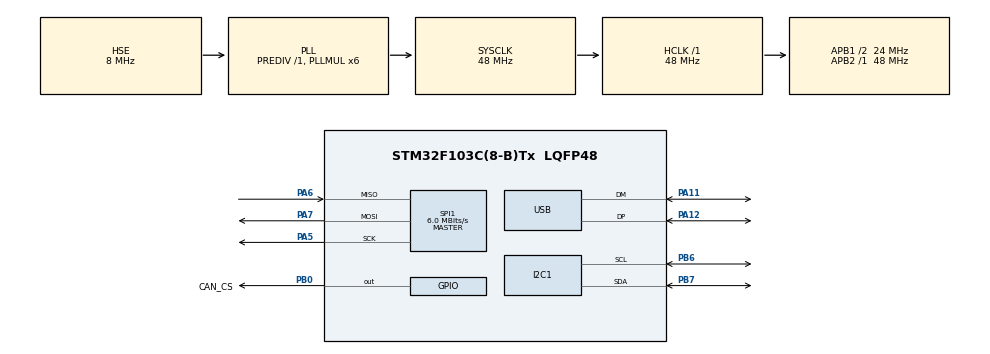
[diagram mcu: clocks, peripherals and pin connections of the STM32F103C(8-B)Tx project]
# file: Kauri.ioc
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Mcu.Family=STM32F1
Mcu.Name=STM32F103C(8-B)Tx
Mcu.Package=LQFP48
NVIC.PriorityGroup=NVIC_PRIORITYGROUP_4
NVIC.USB_HP_CAN1_TX_IRQn=true\:0\:0\:false\:false\:true\:true\:true\:true
NVIC.USB_LP_CAN1_RX0_IRQn=true\:0\:0\:false\:false\:true\:false\:true\:true
PA11.Mode=Device
PA11.Signal=USB_DM
PA12.Mode=Device
PA12.Signal=USB_DP
PA13.Mode=Serial_Wire
PA13.Signal=SYS_JTMS-SWDIO
PA14.Mode=Serial_Wire
PA14.Signal=SYS_JTCK-SWCLK
PA5.Mode=Full_Duplex_Master
PA5.Signal=SPI1_SCK
PA6.Mode=Full_Duplex_Master
PA6.Signal=SPI1_MISO
PA7.Mode=Full_Duplex_Master
PA7.Signal=SPI1_MOSI
PB0.GPIO_Label=CAN_CS
PB0.Signal=GPIO_Output
PB6.Mode=I2C
PB6.Signal=I2C1_SCL
PB7.Mode=I2C
PB7.Signal=I2C1_SDA
PD0-OSC_IN.Mode=HSE-External-Oscillator
PD0-OSC_IN.Signal=RCC_OSC_IN
PD1-OSC_OUT.Mode=HSE-External-Oscillator
PD1-OSC_OUT.Signal=RCC_OSC_OUT
ProjectManager.HeapSize=0x200
ProjectManager.StackSize=0x400
ProjectManager.TargetToolchain=STM32CubeIDE
RCC.AHBFreq_Value=48000000
RCC.APB1CLKDivider=RCC_HCLK_DIV2
RCC.APB1Freq_Value=24000000
RCC.APB1TimFreq_Value=48000000
RCC.APB2Freq_Value=48000000
RCC.APB2TimFreq_Value=48000000
RCC.HCLKFreq_Value=48000000
RCC.PLLMUL=RCC_PLL_MUL6
RCC.SYSCLKFreq_VALUE=48000000
RCC.SYSCLKSource=RCC_SYSCLKSOURCE_PLLCLK
RCC.USBFreq_Value=48000000
SPI1.BaudRatePrescaler=SPI_BAUDRATEPRESCALER_8
SPI1.CalculateBaudRate=6.0 MBits/s
SPI1.Direction=SPI_DIRECTION_2LINES
SPI1.Mode=SPI_MODE_MASTER
SPI1.VirtualType=VM_MASTER
USB_DEVICE.CLASS_NAME_FS=CDC
USB_DEVICE.VirtualMode=Cdc
USB_DEVICE.VirtualModeFS=Cdc_FS
VP_USB_DEVICE_VS_USB_DEVICE_CDC_FS.Mode=CDC_FS
board=custom

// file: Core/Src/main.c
/* USER CODE BEGIN Header */
/**
  ******************************************************************************
  * @file           : main.c
  * @brief          : Main program body
  ******************************************************************************
  * @attention
  *
  * Copyright (c) 2023 STMicroelectronics.
  * All rights reserved.
  *
  * This software is licensed under terms that can be found in the LICENSE file
  * in the root directory of this software component.
  * If no LICENSE file comes with this software, it is provided AS-IS.
  *
  ******************************************************************************
  */
/* USER CODE END Header */
#include "main.h"
#include "i2c.h"
#include "spi.h"
#include "usb_device.h"
#include "gpio.h"

/* USER CODE BEGIN Includes */
#include "string.h"
#include "usbd_cdc_if.h"
#include "accel.h"
#include "CANSPI.h"
/* USER CODE END Includes */

void SystemClock_Config(void);

/* USER CODE BEGIN 0 */

uCAN_MSG rxMessage;

/* USER CODE END 0 */

int main(void)
{

  /* MCU Configuration--------------------------------------------------------*/

  /* Reset of all peripherals, Initializes the Flash interface and the Systick. */
  HAL_Init();

  /* Configure the system clock */
  SystemClock_Config();

  /* Initialize all configured peripherals */
  MX_GPIO_Init();
  MX_I2C1_Init();
  MX_USB_DEVICE_Init();
  MX_SPI1_Init();
  /* USER CODE BEGIN 2 */

   //text buffer
  char text[100] = {0};
  CANSPI_Initialize();
  /* USER CODE END 2 */

  /* Infinite loop */
  /* USER CODE BEGIN WHILE */
  while (1)
  {

	  if(CANSPI_Receive(&rxMessage))
	  {
		uint8_t data[6]        = {0};
		float   data_float[3]  = {0};
		data[0] = rxMessage.frame.data0;
		data[1] = rxMessage.frame.data1;
		data[2] = rxMessage.frame.data2;
		data[3] = rxMessage.frame.data3;
		data[4] = rxMessage.frame.data4;
		data[5] = rxMessage.frame.data5;

		accel_bytes2float(data, data_float);

		sprintf(text,
				  "x: %4.2f  y: %4.2f  z: %4.2f \r\n",
				  data_float[0], data_float[1], data_float[2]);
		  CDC_Transmit_FS(text, sizeof(text));
	  }

    /* USER CODE END WHILE */

  }
}

void SystemClock_Config(void)
{
  RCC_OscInitTypeDef RCC_OscInitStruct = {0};
  RCC_ClkInitTypeDef RCC_ClkInitStruct = {0};
  RCC_PeriphCLKInitTypeDef PeriphClkInit = {0};

  /** Initializes the RCC Oscillators according to the specified parameters
  * in the RCC_OscInitTypeDef structure.
  */
  RCC_OscInitStruct.OscillatorType = RCC_OSCILLATORTYPE_HSE;
  RCC_OscInitStruct.HSEState = RCC_HSE_ON;
  RCC_OscInitStruct.HSEPredivValue = RCC_HSE_PREDIV_DIV1;
  RCC_OscInitStruct.HSIState = RCC_HSI_ON;
  RCC_OscInitStruct.PLL.PLLState = RCC_PLL_ON;
  RCC_OscInitStruct.PLL.PLLSource = RCC_PLLSOURCE_HSE;
  RCC_OscInitStruct.PLL.PLLMUL = RCC_PLL_MUL6;
  if (HAL_RCC_OscConfig(&RCC_OscInitStruct) != HAL_OK)
  {
    Error_Handler();
  }

  /** Initializes the CPU, AHB and APB buses clocks
  */
  RCC_ClkInitStruct.ClockType = RCC_CLOCKTYPE_HCLK|RCC_CLOCKTYPE_SYSCLK
                              |RCC_CLOCKTYPE_PCLK1|RCC_CLOCKTYPE_PCLK2;
  RCC_ClkInitStruct.SYSCLKSource = RCC_SYSCLKSOURCE_PLLCLK;
  RCC_ClkInitStruct.AHBCLKDivider = RCC_SYSCLK_DIV1;
  RCC_ClkInitStruct.APB1CLKDivider = RCC_HCLK_DIV2;
  RCC_ClkInitStruct.APB2CLKDivider = RCC_HCLK_DIV1;

  if (HAL_RCC_ClockConfig(&RCC_ClkInitStruct, FLASH_LATENCY_1) != HAL_OK)
  {
    Error_Handler();
  }
  PeriphClkInit.PeriphClockSelection = RCC_PERIPHCLK_USB;
  PeriphClkInit.UsbClockSelection = RCC_USBCLKSOURCE_PLL;
  if (HAL_RCCEx_PeriphCLKConfig(&PeriphClkInit) != HAL_OK)
  {
    Error_Handler();
  }
}

void Error_Handler(void)
{
  __disable_irq();
  while (1)
  {
  }
}
